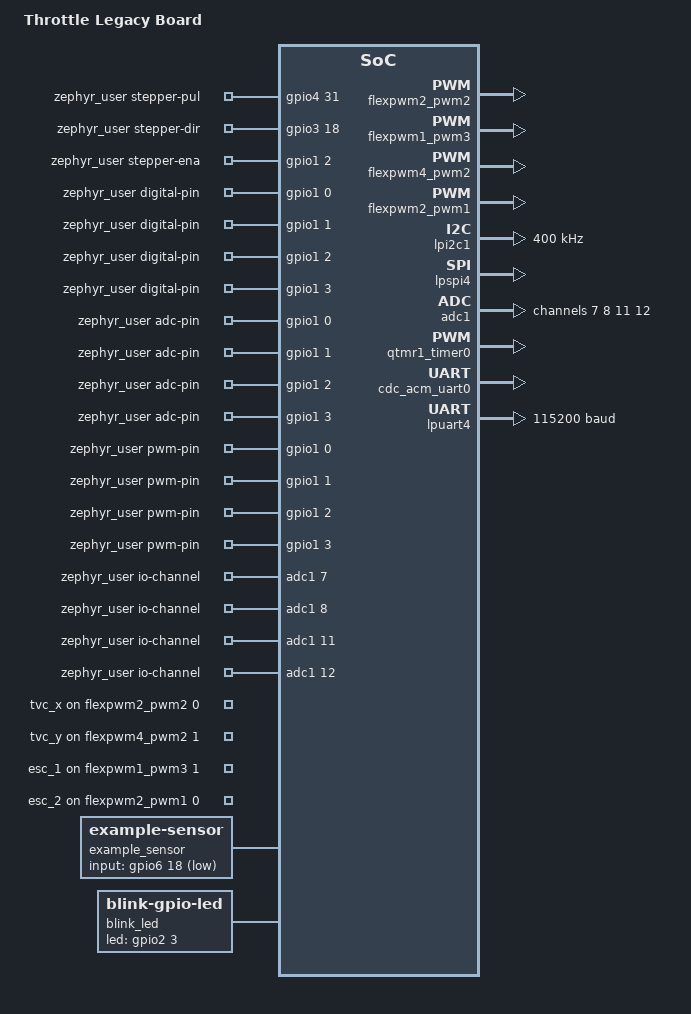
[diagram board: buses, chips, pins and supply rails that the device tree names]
/*
LPL throttle dev 2.5 PCB, from spring/summer 2025.

To find the devicetree equivalent of a teensy GPIO pin:
    1) Find the SOC pin mapped to the teensy pin using the schematic: https://www.pjrc.com/teensy/schematic.html. For
       example, teensy pin 12 -> B0_01
    2) Examine the devicetree for the teensy SOC and find the gpio bank + index corresopnding to the SOC pin:
       https://sourcegraph.com/github.com/zephyrproject-rtos/zephyr/-/blob/dts/arm/nxp/nxp_rt1060.dtsi?L90-94.
       For example:
       B0_01 ->
       ...
         GPIO bank: &gpio2
         vvvvv
       &gpio2 {
           pinmux = <&iomuxc_gpio_b0_00_gpio2_io00>,
                <&iomuxc_gpio_b0_01_gpio2_io01>,
                              ^^^^^         ^^
                              Matching pin  Index 1
       ...
       Be careful, as some pins may have very similar names. Note how we selected `iomuxc_gpio_b0_01_gpio2_io01` rather
       than `iomuxc_gpio_sd_b0_01_gpio3_io13` due to the erroneous `sd_` prefix in that other pin name.
    3) Convert this to the device tree phandle.
       For example: <&gpio2 1 GPIO_ACTIVE_HIGH>
                      ^^^   ^ ^^^^^^^^^^^^^^^^
                      Bank  |   Other GPIO config flags
                            Index

To the find devicetree ADC channel for a teensy ADC pin:
    1) Check the teensy API for how they map teensy pins to ADC channels: https://sourcegraph.com/github.com/PaulStoffregen/cores/-/blob/teensy4/analog.c?L41-86.
       Note the channel number and ADC number. Numbers less than 128 are the channel number on ADC1 while numbers that
       are `128+XYZ` use channel number XYZ on ADC2.
    2)

*/

/dts-v1/;

#include <../boards/pjrc/teensy4/teensy41.dts>
#include <zephyr/dt-bindings/pwm/pwm.h>
#include <zephyr/dt-bindings/gpio/gpio.h>

/ {
	model = "Throttle Legacy Board";

	aliases {
		pt-adc = &adc1;
		stepper-pulse-counter = &qtmr1_timer0;
		/* Make this bus the default Arduino I2C bus for Wire */
		arduino-i2c = &lpi2c1;
		arduino_spi = &lpspi4;
		// might be this:
		// arduino-i2c = &lpi2c1
	};

	zephyr_user: zephyr,user {
		stepper-pul-gpios = <&gpio4 31 GPIO_ACTIVE_HIGH>; // Pin 29
		stepper-dir-gpios = <&gpio3 18 GPIO_ACTIVE_HIGH>; // Pin 28
		stepper-ena-gpios = <&gpio1 2 GPIO_ACTIVE_HIGH>; // Pin 4

		pwms = <&flexpwm2_pwm2 0 PWM_MSEC(20) PWM_POLARITY_NORMAL>, /* tvc_x -> pin 6 (A) */
			   <&flexpwm4_pwm2 1 PWM_MSEC(20) PWM_POLARITY_NORMAL>, /* tvc_y -> pin 3 (B) */
			   <&flexpwm1_pwm3 1 PWM_MSEC(20) PWM_POLARITY_NORMAL>, /* esc_1 -> pin 7 (B) */
			   <&flexpwm2_pwm1 0 PWM_MSEC(20) PWM_POLARITY_NORMAL>; /* esc_2 -> pin 5 (A) */

		pwm-names = "tvc_x", "tvc_y", "esc_1", "esc_2";

		servo-min-pulse-us = <1000>;
		servo-max-pulse-us = <2000>;

		// HACK: For whatever reason the io-channels may be getting auto-sorted? Thus, we order our pt labels
		// corresponding to the sorted ascending order of ADC1 channels. The following corresonds to pins A0, A1, A3,
		// and A2. We really ought investigate further.
		pt-names = "pt102", "pt202", "pt203", "ptf401";
		io-channels = <&adc1 7>, <&adc1 8>, <&adc1 11>, <&adc1 12>;

		/* GY-BNO08X IMU config */
		i2cs = <&lpi2c1>;
		imu_i2c_addr = <0x4b>;     /* default BNO08x I2C address */


		/* Minimal stub just so Arduino.h sees *something* */

		// 4 "Arduino digital pins" – for now just use 0..3 on gpio1 as placeholders.
		digital-pin-gpios = <&gpio1 0 GPIO_ACTIVE_HIGH>,
							<&gpio1 1 GPIO_ACTIVE_HIGH>,
							<&gpio1 2 GPIO_ACTIVE_HIGH>,
							<&gpio1 3 GPIO_ACTIVE_HIGH>;

		// 4 "Arduino analog pins" – one per ADC channel listed in io-channels.
		// These are just placeholders
		adc-pin-gpios     = <&gpio1 0 GPIO_ACTIVE_HIGH>,
							<&gpio1 1 GPIO_ACTIVE_HIGH>,
							<&gpio1 2 GPIO_ACTIVE_HIGH>,
							<&gpio1 3 GPIO_ACTIVE_HIGH>;

		// 4 PWM-capable "Arduino pins" - Just placeholders.
		pwm-pin-gpios     = <&gpio1 0 GPIO_ACTIVE_HIGH>,
							<&gpio1 1 GPIO_ACTIVE_HIGH>,
							<&gpio1 2 GPIO_ACTIVE_HIGH>,
							<&gpio1 3 GPIO_ACTIVE_HIGH>;

	};

	chosen {
		zephyr,console = &cdc_acm_uart0;
	};

	example_sensor: example-sensor {
		compatible = "zephyr,example-sensor";
		input-gpios = <&gpio6 18 (GPIO_PULL_UP | GPIO_ACTIVE_LOW)>;
	};

	blink_led: blink-led {
		compatible = "blink-gpio-led";
		led-gpios = <&gpio2 3 GPIO_ACTIVE_HIGH>;
		blink-period-ms = <1000>;
	};
};

// docs: https://www.pjrc.com/store/teensy41.html
/* Module 2, submodule 2 -> pins 6 (A) and 9 (B) */
/* tvc_x on pin 6 (A of FlexPWM2 submodule 2) */
&flexpwm2_pwm2 {
	pinctrl-names = "default";
	pinctrl-0 = <&pwm2_2_a_b0_10>;
	status = "okay";
};


/* esc_1 on pin 7 (A of FlexPWM1 submodule 3) */
&flexpwm1_pwm3 {
	pinctrl-names = "default";
	pinctrl-0 = <&pwm1_3_b_b1_01>;
	status = "okay";
};

/* tvc_y on pin 3 (B of FlexPWM4 submodule 2) */
&flexpwm4_pwm2 {
	pinctrl-names = "default";
	pinctrl-0 = <&pwm4_2_b_emc_05>;
	status = "okay";
};


/* esc_2 on pin 5 (A of FlexPWM2 submodule 1) */
&flexpwm2_pwm1 {
	pinctrl-names = "default";
	pinctrl-0 = <&pwm2_1_a_emc_08>;
	status = "okay";
};

/* Enable I2C1 for the IMU */
&lpi2c1{

	pinctrl-names = "default";
	pinctrl-0 = <&i2c1>;
	clock-frequency = <400000>;  /* 400 kHz I2C */
	status = "okay";
};

/* Enable the SPI controller used for Arduino SPI */
&lpspi4 {
	status = "okay";
	pinctrl-names = "default";
	pinctrl-0 = <&lpspi4_default>;
};

// Docs: https://docs.zephyrproject.org/latest/build/dts/api/bindings/pinctrl/nxp%2Cmcux-rt-pinctrl.html
&pinctrl {
	pinmux_adc1: pinmux_adc1 {
		group0 {
			pinmux = <&iomuxc_gpio_ad_b1_02_gpio1_io18>, <&iomuxc_gpio_ad_b1_03_gpio1_io19>,
					 <&iomuxc_gpio_ad_b1_06_gpio1_io22>, <&iomuxc_gpio_ad_b1_07_gpio1_io23>;
			bias-disable; // These should be pulled down by voltage divider
			drive-strength = "r0-6";
			slew-rate = "slow";
			nxp,speed = "100-mhz";
		};
	};


	/* GY-BNO08X IMU I2C1 pins (Teensy pins 18-19 on AD_B1_00/01) */
	i2c1: i2c1 {
		group0 {
				pinmux = <&iomuxc_gpio_ad_b1_00_lpi2c1_scl>, // pin 19
					 <&iomuxc_gpio_ad_b1_01_lpi2c1_sda>; // pin 18

			/* Usual I2C pin config */
			bias-pull-up;
			drive-strength = "r0-6";
			slew-rate = "slow";
			nxp,speed = "100-mhz";
		};
	};

	/* SPI on Teensy 4.1 pins 10–13: LPSPI4 */
	lpspi4_default: lpspi4_default {
		group0 {
			pinmux = <&iomuxc_gpio_b0_03_lpspi4_sck>,   /* Pin 13: SCK  */
					 <&iomuxc_gpio_b0_02_lpspi4_sdo>,   /* Pin 11: MOSI */
					 <&iomuxc_gpio_b0_01_lpspi4_sdi>,   /* Pin 12: MISO */
					 <&iomuxc_gpio_b0_00_lpspi4_pcs0>;  /* Pin 10: CS   */
		bias-disable;
		drive-strength = "r0-6";
		nxp,speed = "100-mhz";
		slew-rate = "slow";
	};
};

	/* Teensy 4.1 pin 6 -> GPIO_B0_10 -> FLEXPWM2_PWMA02 */
	pwm2_2_a_b0_10: pwm2_2_a_b0_10 {
		group0 {
			pinmux = <&iomuxc_gpio_b0_10_flexpwm2_pwma2>;
			bias-disable;
			drive-strength = "r0-6";
			slew-rate = "slow";
			nxp,speed = "100-mhz";
		};
	};

	/* pin 3 : GPIO_EMC_05 -> FLEXPWM4_PWMB02 */
	pwm4_2_b_emc_05: pwm4_2_b_emc_05 {
		group0 {
			pinmux = <&iomuxc_gpio_emc_05_flexpwm4_pwmb2>;
			bias-disable;
			drive-strength = "r0-6";
			nxp,speed = "100-mhz";
			slew-rate = "slow";
		};
	};

	/* pin 5 : GPIO_EMC_08 -> FLEXPWM2_PWMA01 */
	pwm2_1_a_emc_08: pwm2_1_a_emc_08 {
		group0 {
			pinmux = <&iomuxc_gpio_emc_08_flexpwm2_pwma1>;
			bias-disable;
			drive-strength = "r0-6";
			nxp,speed = "100-mhz";
			slew-rate = "slow";
		};
	};

//	/* Teensy 4.1 pin 9-> GPIO_B1_01 -> FLEXPWM1_PWMB03 */
//	pwm2_2_b_b0_11: pwm2_2_b_b0_11 {
//		group0 {
//			pinmux = <&iomuxc_gpio_b0_11_flexpwm2_pwmb2>;
//			bias-disable;
//			drive-strength = "r0-6";
//			slew-rate = "slow";
//			nxp,speed = "100-mhz";
//		};
//	};

	/* pin 7 : GPIO_B1_01 -> FLEXPWM1_PWMb03 */
	pwm1_3_b_b1_01: pwm1_3_b_b1_01 {
		group0 {
			pinmux = <&iomuxc_gpio_b1_01_flexpwm1_pwmb3>;
			bias-disable;
			drive-strength = "r0-6";
			nxp,speed = "100-mhz";
			slew-rate = "slow";
		};
	};

};

// Docs: https://docs.zephyrproject.org/latest/build/dts/api/bindings/adc/nxp%2Cmcux-12b1msps-sar.html
pt_adc: &adc1 {
	// She's broken, he's...
	status = "okay";
	pinctrl-0 = <&pinmux_adc1>;
	pinctrl-names = "default";
	#address-cells = <1>;
	#size-cells = <0>;

	// PT1 (top-left), pin A0 / 14, AD_B1_02
	channel@7 {
		reg = <0x7>;
		zephyr,gain = "ADC_GAIN_1";
		zephyr,reference = "ADC_REF_INTERNAL";
		zephyr,acquisition-time = <ADC_ACQ_TIME_DEFAULT>;
		zephyr,resolution = <12>; // Max for chip
		zephyr,oversampling = <5>; // 32x averaging
	};

	// PT2 (bottom-left), pin A1 / 15, AD_B1_03
	channel@8 {
		reg = <0x8>;
		zephyr,gain = "ADC_GAIN_1";
		zephyr,reference = "ADC_REF_INTERNAL";
		zephyr,acquisition-time = <ADC_ACQ_TIME_DEFAULT>;
		zephyr,resolution = <12>; // Max for chip
		zephyr,oversampling = <5>; // 32x averaging
	};

	// PT4 (top-right), pin A3 / 17, AD_B1_07
	channel@b {
		reg = <0xb>;
		zephyr,gain = "ADC_GAIN_1";
		zephyr,reference = "ADC_REF_INTERNAL";
		zephyr,acquisition-time = <ADC_ACQ_TIME_DEFAULT>;
		zephyr,resolution = <12>; // Max for chip
		zephyr,oversampling = <5>; // 32x averaging
	};

	// PT3 (bottom-right), pin A2 / 16, AD_B1_06
	channel@c {
		reg = <0xc>;
		zephyr,gain = "ADC_GAIN_1";
		zephyr,reference = "ADC_REF_INTERNAL";
		zephyr,acquisition-time = <ADC_ACQ_TIME_DEFAULT>;
		zephyr,resolution = <12>; // Max for chip
		zephyr,oversampling = <5>; // 32x averaging
	};

	// TODO - add add'l analog-ins.
};

// Timer for stepper pulses.
// Docs: https://docs.zephyrproject.org/latest/build/dts/api/bindings/counter/nxp%2Cimx-tmr.html
// Teensyduino equivalent: https://sourcegraph.com/github.com/PaulStoffregen/cores/-/blob/teensy4/IntervalTimer.cpp
&qtmr1_timer0 {
	status = "okay";
	mode = "kQTMR_PriSrcRiseEdge"; // Rising edge of primary clock source
	// Use instruction pointer clock, which is 600 MHz: https://sourcegraph.com/github.com/zephyrproject-rtos/zephyr/-/blob/dts/arm/nxp/nxp_rt10xx.dtsi?L75-79
	// These are 16-bit counters, so picking 32x clock division gets us a minimum width of ~53 ns and a maximum width of
	// ~3.5 ms. This more than covers our driver's minimum width of 2.5 us and our control loop's rough maximum interval
	// of 1 ms.
	primary-source = "kQTMR_ClockDivide_32";
};

&zephyr_udc0 {
	cdc_acm_uart0: cdc_acm_uart0 {
		compatible = "zephyr,cdc-acm-uart";
		label = "CDC_ACM_0";
	};
};

&lpuart6 {
	status = "disabled";
};

&lpuart4 {
	status = "okay";
	current-speed = <115200>;
};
